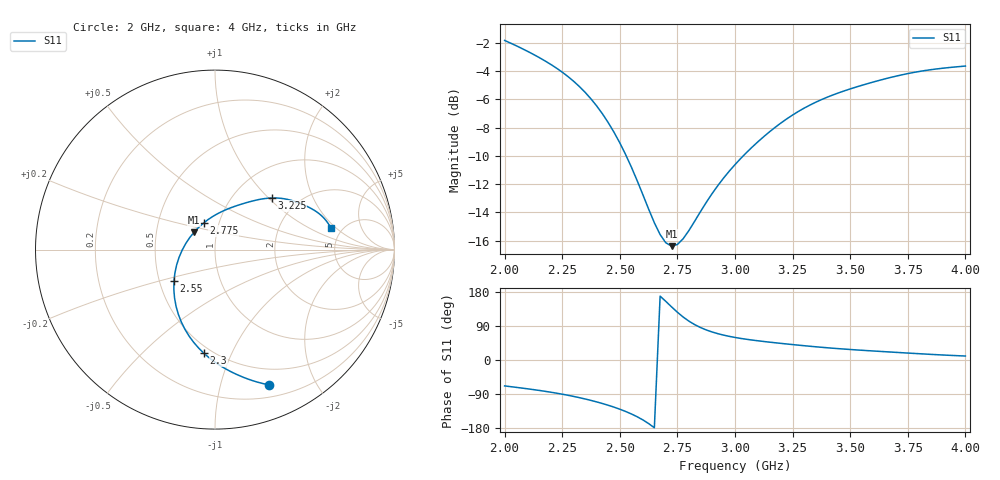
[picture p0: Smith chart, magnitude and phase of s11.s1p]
! NobuRF balanis-4.7-quarter-wave-monopole: port "feed" (coax feed, referred to its flange), 14200 steps
# GHz S RI R 50
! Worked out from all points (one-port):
!   81 points, 2 GHz to 4 GHz, reference 50 ohm
!   lowest |S11| = -16.4 dB at 2.725 GHz (marker M1), VSWR 1.36, Z = 38.9 + j7.76 ohm
!   |S11| at or under -10 dB: 2.528 GHz to 3.036 GHz (507.5 MHz wide, 18.2 % of centre)
!   S11 on the Smith chart (normalised r, x): 2 GHz: 0.32, -1.42; 2.3 GHz: 0.45, -0.79; 2.55 GHz: 0.59, -0.23; 2.775 GHz: 0.84, +0.26; 3.225 GHz: 1.49, +1.05; 4 GHz: 4.08, +1.72
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2  0.2985 -0.753
2.125  0.1487 -0.7077
2.2  0.0587 -0.6642
2.25  -0.00215 -0.6257
2.3  -0.0622 -0.5772
2.35  -0.1186 -0.5169
2.4  -0.1674 -0.4442
2.45  -0.2042 -0.3609
2.5  -0.2253 -0.2701
2.55  -0.2286 -0.1768
2.6  -0.214 -0.0864
2.65  -0.1834 -0.00383
2.675  -0.1633 0.0332
2.7  -0.1407 0.0671
2.725  -0.1162 0.0974
2.75  -0.0904 0.1244
2.775  -0.064 0.1479
2.875  0.0398 0.2128
2.925  0.0866 0.2325
3  0.1495 0.2539
3.1  0.2252 0.2747
3.225  0.3168 0.2876
3.25  0.3346 0.2878
3.375  0.4167 0.2766
3.5  0.4832 0.2539
3.75  0.5871 0.1944
3.875  0.6231 0.1559
4  0.6465 0.1198
